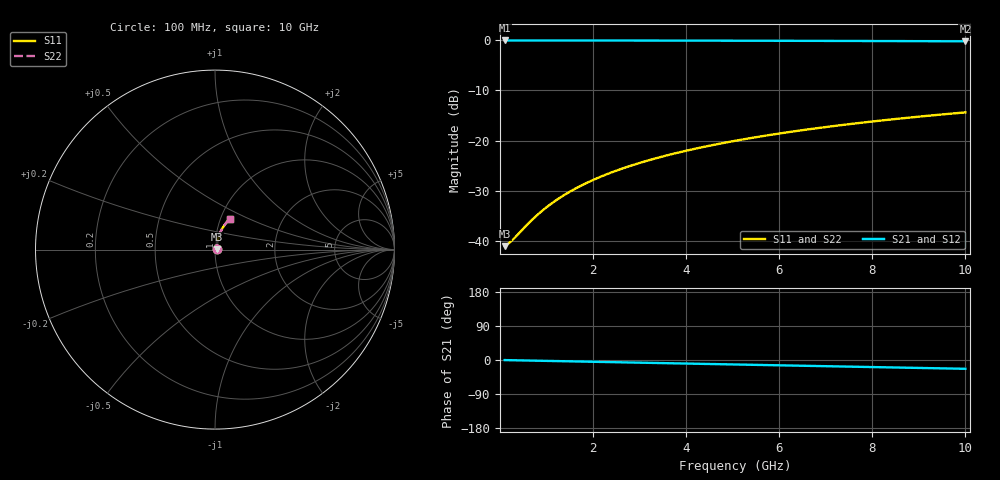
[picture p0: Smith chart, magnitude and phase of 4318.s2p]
# Hz S RI R 50.00
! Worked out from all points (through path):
!   100 points, 100 MHz to 10 GHz, reference 50 ohm
!   highest |S21| = -0.08 dB at 100 MHz (marker M1); lowest = -0.2 dB at 10 GHz (marker M2)
!   group delay of S21, straight-line fit = 6.45 ps
!   lowest |S11| = -41.0 dB at 100 MHz (marker M3), VSWR 1.02, Z = 50.9 + j0.199 ohm
!   |S11| at or under -10 dB: start of sweep to end of sweep
!   |S22| runs from -41.0 to -14.4 dB; largest |S21 - S12| = 0
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1e8  0.00874 0.00195  0.9913 -0.00406  0.9913 -0.00406  0.00874 0.00195
2e8  0.00882 0.0039  0.9912 -0.00812  0.9912 -0.00812  0.00882 0.0039
3e8  0.0089 0.00585  0.9911 -0.0122  0.9911 -0.0122  0.0089 0.00585
7e8  0.00933 0.0136  0.9905 -0.0284  0.9905 -0.0284  0.00933 0.0136
8e8  0.00947 0.0156  0.9904 -0.0325  0.9904 -0.0325  0.00947 0.0156
1e9  0.00979 0.0195  0.99 -0.0406  0.99 -0.0406  0.00979 0.0195
1.2e9  0.0102 0.0234  0.9895 -0.0487  0.9895 -0.0487  0.0102 0.0234
1.4e9  0.0106 0.0272  0.9889 -0.0567  0.9889 -0.0567  0.0106 0.0272
1.6e9  0.0111 0.0311  0.9883 -0.0648  0.9883 -0.0648  0.0111 0.0311
1.8e9  0.0117 0.0349  0.9876 -0.0729  0.9876 -0.0729  0.0117 0.0349
2.1e9  0.0127 0.0407  0.9863 -0.085  0.9863 -0.085  0.0127 0.0407
2.5e9  0.0142 0.0483  0.9844 -0.1011  0.9844 -0.1011  0.0142 0.0483
2.9e9  0.0159 0.0559  0.9822 -0.1171  0.9822 -0.1171  0.0159 0.0559
3.4e9  0.0184 0.0653  0.9789 -0.137  0.9789 -0.137  0.0184 0.0653
3.8e9  0.0207 0.0727  0.976 -0.1529  0.976 -0.1529  0.0207 0.0727
4.2e9  0.0232 0.08  0.9727 -0.1686  0.9727 -0.1686  0.0232 0.08
5.1e9  0.0298 0.0961  0.9643 -0.2038  0.9643 -0.2038  0.0298 0.0961
5.9e9  0.0365 0.11  0.9555 -0.2345  0.9555 -0.2345  0.0365 0.11
6.7e9  0.0442 0.1233  0.9456 -0.2648  0.9456 -0.2648  0.0442 0.1233
7.5e9  0.0526 0.1361  0.9346 -0.2945  0.9346 -0.2945  0.0526 0.1361
8.4e9  0.063 0.1498  0.9209 -0.3271  0.9209 -0.3271  0.063 0.1498
1e10  0.0837 0.1719  0.8934 -0.3831  0.8934 -0.3831  0.0837 0.1719
